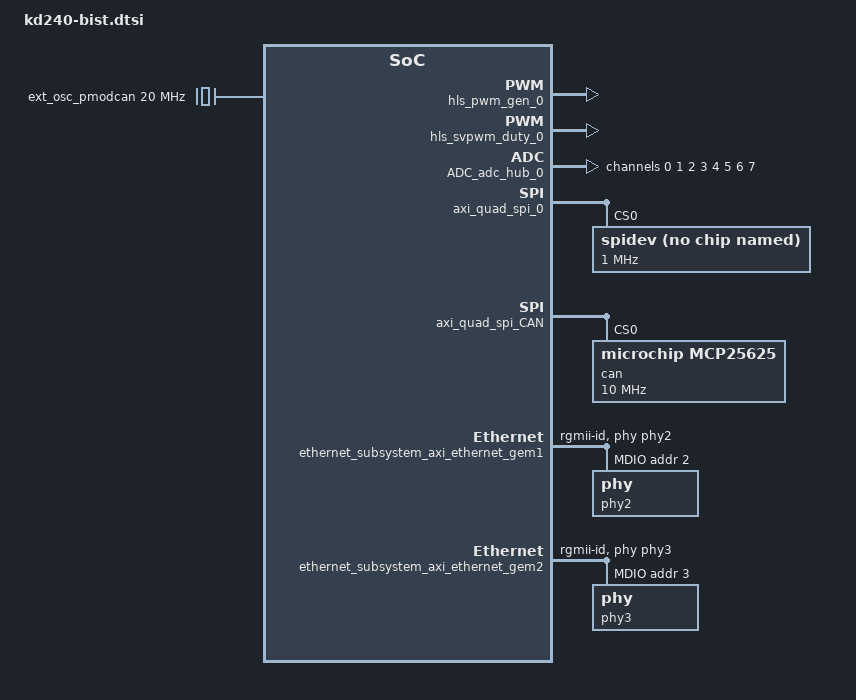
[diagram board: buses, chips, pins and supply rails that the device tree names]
// SPDX-License-Identifier: Apache-2.0
/*
 * dts file for Xilinx KD240 motor drives
 *
 * (C) Copyright 2023 - 2024, Advanced Micro Devices, Inc.
 *
 */

/dts-v1/;
/plugin/;

&fpga_full {
	#address-cells = <2>;
	#size-cells = <2>;
	firmware-name = "kd240-bist.bit.bin";
	resets = <&zynqmp_reset 116>, <&zynqmp_reset 117>;
};

&amba {
	afi0: afi0 {
		compatible = "xlnx,afi-fpga";
		config-afi = < 0 0>, <1 0>, <2 0>, <3 0>, <4 0>, <5 0>, <6 0>, <7 0>, <8 0>, <9 0>, <10 0>, <11 0>, <12 0>, <13 0>, <14 0x800>, <15 0x000>;
	};

	/* fpga clocks */
	pl0_ref_100M: pl0_ref_100M { /* clk_out1 - clk_wiz_0 */
		#clock-cells = <0x0>;
		compatible = "fixed-factor-clock";
		clocks = <&zynqmp_clk 71>;
		clock-div = <1>;
		clock-mult = <1>;
	};

	gem1_clk_out_125M: gem1_clk_out_125M { /* clk_out1 - clk_wiz_1 */
		#clock-cells = <0x0>;
		compatible = "fixed-factor-clock";
		clocks = <&clk_25_0>; /* u92/u91 - 25MHz clock - modelled in board dts*/
		clock-div = <1>;
		clock-mult = <5>;
	};

	gem2_clk_out_125M: gem2_clk_out_125M { /* clk_out1 - clk_wiz */
		#clock-cells = <0x0>;
		compatible = "fixed-factor-clock";
		clocks = <&clk_25_1>; /* u92/u91 - 25MHz clock - modelled in board dts*/
		clock-div = <1>;
		clock-mult = <5>;
	};

	gem2_clk_out_333M: gem2_clk_out_333M { /* clk_out2 - clk_wiz */
		#clock-cells = <0x0>;
		compatible = "fixed-factor-clock";
		clocks = <&clk_25_1>; /* u92/u91 - 25MHz clock - modelled in board dts*/
		clock-div = <3>;
		clock-mult = <40>;
	};

	/* ext_osc_pmodcan: External oscillator (X1) residing on Digilent PmodCAN device.
	Supplies 20MHz fixed clock to MCP25625 CAN Controller on the device to enable
	communication. Refer PmodCAN schematic for details. */
	ext_osc_pmodcan: ext_osc_pmodcan {
		compatible = "fixed-clock";
		#clock-cells = <0>;
		clock-frequency = <20000000>;
		clock-output-names = "ext_osc_pmodcan";
	};

	hls_foc_periodic_0: hls_foc_periodic@a0000000 {
		clock-names = "ap_clk";
		clocks = <&pl0_ref_100M>;
		compatible = "xlnx,hls-foc-periodic-1.0";
		interrupt-names = "interrupt";
		interrupt-parent = <&gic>;
		interrupts = <0 108 4>;
		reg = <0 0xa0000000 0 0x10000>;
	};

	hls_pwm_gen_0: hls_pwm_gen@a0040000 {
		clock-names = "ap_clk";
		clocks = <&pl0_ref_100M>;
		compatible = "xlnx,hls-pwm-gen-1.0";
		reg = <0 0xa0040000 0 0x10000>;
	};

	hls_qei_axi_0: hls_qei_axi@a0030000 {
		clock-names = "ap_clk";
		clocks = <&pl0_ref_100M>;
		compatible = "xlnx,hls-qei-axi-1.0";
		interrupt-names = "interrupt";
		interrupt-parent = <&gic>;
		interrupts = <0 107 4>;
		reg = <0 0xa0030000 0 0x10000>;
	};

	hls_svpwm_duty_0: hls_svpwm_duty@a0050000 {
		clock-names = "ap_clk";
		clocks = <&pl0_ref_100M>;
		compatible = "xlnx,hls-svpwm-duty-1.0";
		interrupt-names = "interrupt";
		interrupt-parent = <&gic>;
		interrupts = <0 109 4>;
		reg = <0 0xa0050000 0 0x10000>;
	};

	motor_control_0: motor_control@a0020000 {
		clock-names = "s_axi_cntrl_clk";
		clocks = <&pl0_ref_100M>;
		compatible = "generic-uio";
		linux,uio-name = "motor_control";
		interrupt-names = "interrupt";
		interrupt-parent = <&gic>;
		interrupts = <0 105 4>;
		reg = <0 0xa0020000 0 0x1000>;
	};

	axi_gpio_0: gpio@a0070000 {
		#gpio-cells = <2>;
		compatible = "xlnx,axi-gpio-2.0","xlnx,xps-gpio-1.00.a";
		clocks = <&pl0_ref_100M>;
		gpio-controller ;
		reg = <0x0 0xa0070000 0x0 0x10000>;
		xlnx,all-inputs = <0x0>;
		xlnx,all-inputs-2 = <0x0>;
		xlnx,all-outputs = <0x0>;
		xlnx,all-outputs-2 = <0x0>;
		xlnx,dout-default = <0x00000000>;
		xlnx,dout-default-2 = <0x00000000>;
		xlnx,gpio-width = <0x8>;
		xlnx,gpio2-width = <0x3>;
		xlnx,interrupt-present = <0x0>;
		xlnx,is-dual = <0x1>;
		xlnx,tri-default = <0xFFFFFFFF>;
		xlnx,tri-default-2 = <0xFFFFFFFF>;
	};

	ADC_adc_hub_0: adc_hub@a0010000 {
		compatible = "xlnx,adc-hub-1.0";
		interrupt-names = "adc_hub-irq";
		interrupt-parent = <&gic>;
		interrupts = <0 104 4>;
		xlnx,numchannels = /bits/8 <8>;
		reg = <0 0xa0010000 0 0x1000>;
		#address-cells = <1>;
		#size-cells = <0>;
		channel@0 {
			reg = <0>;
			xlnx,type = "voltage";
			xlnx,bipolar;
		};
		channel@1 {
			reg = <1>;
			xlnx,type = "current";
			xlnx,bipolar;
		};
		channel@2 {
			reg = <2>;
			xlnx,type = "voltage";
			xlnx,bipolar;
		};
		channel@3 {
			reg = <3>;
			xlnx,type = "current";
			xlnx,bipolar;
		};
		channel@4 {
			reg = <4>;
			xlnx,type = "voltage";
			xlnx,bipolar;
		};
		channel@5 {
			reg = <5>;
			xlnx,type = "current";
			xlnx,bipolar;
		};
		channel@6 {
			reg = <6>;
			xlnx,type = "voltage";
		};
		channel@7 {
			reg = <7>;
			xlnx,type = "current";
		};
	};

	axi_quad_spi_0: axi_quad_spi@a0060000 {
		bits-per-word = <8>;
		clock-names = "ext_spi_clk", "s_axi_aclk";
		clocks = <&pl0_ref_100M>, <&pl0_ref_100M>;
		compatible = "xlnx,axi-quad-spi-3.2", "xlnx,xps-spi-2.00.a";
		fifo-size = <16>;
		interrupt-names = "ip2intc_irpt";
		interrupt-parent = <&gic>;
		interrupts = <0 106 1>;
		num-cs = <0x1>;
		reg = <0x0 0xa0060000 0x0 0x10000>;
		xlnx,num-ss-bits = <0x1>;
		xlnx,spi-mode = <0>;
		spidev@0 {
			compatible = "rohm,dh2228fv"; /*spidev alternative*/
			reg = <0>;
			spi-max-frequency = <1000000>;
		};
	};

	axi_quad_spi_CAN: axi_quad_spi@a0080000 {
		bits-per-word = <8>;
		clock-names = "ext_spi_clk", "s_axi_aclk";
		clocks = <&pl0_ref_100M>, <&pl0_ref_100M>;
		compatible = "xlnx,axi-quad-spi-3.2", "xlnx,xps-spi-2.00.a";
		fifo-size = <16>;
		interrupt-names = "ip2intc_irpt";
		interrupt-parent = <&gic>;
		interrupts = <0 111 1>;
		num-cs = <0x1>;
		reg = <0x0 0xa0080000 0x0 0x10000>;
		xlnx,num-ss-bits = <0x1>;
		xlnx,spi-mode = <0>;
		can@0 {
			compatible = "microchip,mcp25625";
			reg = <0>;
			clocks = <&ext_osc_pmodcan>;
			interrupt-names = "can_int";
			interrupt-parent = <&gic>; 
			interrupts = <0 110 4>;
			spi-max-frequency = <10000000>;
		};
	};

	ethernet_subsystem_axi_dma_gem1: dma@80010000 {
		#dma-cells = <1>;
		clock-names = "s_axi_lite_aclk", "m_axi_sg_aclk", "m_axi_mm2s_aclk", "m_axi_s2mm_aclk";
		clocks = <&pl0_ref_100M>, <&pl0_ref_100M>, <&pl0_ref_100M>, <&pl0_ref_100M>;
		compatible = "xlnx,eth-dma";
		interrupt-names = "mm2s_introut", "s2mm_introut";
		interrupt-parent = <&gic>;
		interrupts = <0 93 4 0 94 4>;
		reg = <0x0 0x80010000 0x0 0x10000>;
		xlnx,addrwidth = /bits/ 8 <0x20>;
		xlnx,num-queues = /bits/ 16 <0x1>;
	};
	ethernet_subsystem_axi_ethernet_gem1: ethernet@80080000 {
		axistream-connected = <&ethernet_subsystem_axi_dma_gem1>;
		axistream-control-connected = <&ethernet_subsystem_axi_dma_gem1>;
		clock-frequency = <100000000>;
		clock-names = "s_axi_lite_clk", "axis_clk", "gtx_clk";
		clocks = <&pl0_ref_100M>, <&pl0_ref_100M>, <&gem1_clk_out_125M>;
		compatible = "xlnx,axi-ethernet-7.2", "xlnx,axi-ethernet-1.00.a";
		device_type = "network";
		interrupt-names = "mac_irq", "interrupt", "mm2s_introut", "s2mm_introut";
		interrupt-parent = <&gic>;
		interrupts = <0 95 1 0 96 4 0 93 4 0 94 4>;
		local-mac-address = [00 0a 35 00 00 00];
		phy-mode = "rgmii-id";
		reg = <0x0 0x80080000 0x0 0x40000>;
		xlnx = <0x0>;
		xlnx,axiliteclkrate = <0x0>;
		xlnx,axisclkrate = <0x0>;
		xlnx,channel-ids = <0x1>;
		xlnx,clockselection = <0x0>;
		xlnx,enableasyncsgmii = <0x0>;
		xlnx,gt-type = <0x0>;
		xlnx,gtinex = <0x0>;
		xlnx,gtlocation = <0x0>;
		xlnx,gtrefclksrc = <0x0>;
		xlnx,instantiatebitslice0 = <0x0>;
		xlnx,num-queues = /bits/ 16 <0x1>;
		xlnx,phyrst-board-interface-dummy-port = <0x0>;
		xlnx,rable = <0x0>;
		xlnx,rxcsum = <0x0>;
		xlnx,rxlane0-placement = <0x0>;
		xlnx,rxlane1-placement = <0x0>;
		xlnx,rxmem = <0x1000>;
		xlnx,rxnibblebitslice0used = <0x0>;
		xlnx,tx-in-upper-nibble = <0x1>;
		xlnx,txcsum = <0x0>;
		xlnx,txlane0-placement = <0x0>;
		xlnx,txlane1-placement = <0x0>;
		xlnx,versal-gt-board-flow = <0x0>;
		zclock-names = "NULL";
		zclocks = "NULL";
		phy-handle = <&phy2>;
		ethernet_subsystem_axi_ethernet_gem1_mdio: mdio {
			#address-cells = <1>;
			#size-cells = <0>;
			phy2: phy@2 {
				reg = <0x2>;
				adi,rx-internal-delay-ps = <2000>;
				adi,tx-internal-delay-ps = <2000>;
				adi,fifo-depth-bits = <8>;
			};
		};
	};

	ethernet_subsystem_axi_dma_gem2: dma@80000000 {
		#dma-cells = <1>;
		clock-names = "s_axi_lite_aclk", "m_axi_sg_aclk", "m_axi_mm2s_aclk", "m_axi_s2mm_aclk";
		clocks = <&pl0_ref_100M>, <&pl0_ref_100M>, <&pl0_ref_100M>, <&pl0_ref_100M>;
		compatible = "xlnx,eth-dma";
		interrupt-names = "mm2s_introut", "s2mm_introut";
		interrupt-parent = <&gic>;
		interrupts = <0 91 4 0 92 4>;
		reg = <0x0 0x80000000 0x0 0x10000>;
		xlnx,addrwidth = /bits/ 8 <0x20>;
		xlnx,num-queues = /bits/ 16 <0x1>;
	};

	ethernet_subsystem_axi_ethernet_gem2: ethernet@80040000 {
		axistream-connected = <&ethernet_subsystem_axi_dma_gem2>;
		axistream-control-connected = <&ethernet_subsystem_axi_dma_gem2>;
		clock-frequency = <100000000>;
		clock-names = "s_axi_lite_clk", "axis_clk", "gtx_clk", "ref_clk";
		clocks = <&pl0_ref_100M>, <&pl0_ref_100M>, <&gem2_clk_out_125M>, <&gem2_clk_out_333M>;
		compatible = "xlnx,axi-ethernet-7.2", "xlnx,axi-ethernet-1.00.a";
		device_type = "network";
		interrupt-names = "mac_irq", "interrupt", "mm2s_introut", "s2mm_introut";
		interrupt-parent = <&gic>;
		interrupts = <0 89 1 0 90 4 0 91 4 0 92 4>;
		local-mac-address = [00 0a 35 00 00 01];
		phy-mode = "rgmii-id";
		reg = <0x0 0x80040000 0x0 0x40000>;
		xlnx = <0x0>;
		xlnx,axiliteclkrate = <0x0>;
		xlnx,axisclkrate = <0x0>;
		xlnx,channel-ids = <0x1>;
		xlnx,clockselection = <0x0>;
		xlnx,enableasyncsgmii = <0x0>;
		xlnx,gt-type = <0x0>;
		xlnx,gtinex = <0x0>;
		xlnx,gtlocation = <0x0>;
		xlnx,gtrefclksrc = <0x0>;
		xlnx,instantiatebitslice0 = <0x0>;
		xlnx,num-queues = /bits/ 16 <0x1>;
		xlnx,phyrst-board-interface-dummy-port = <0x0>;
		xlnx,rable = <0x0>;
		xlnx,rxcsum = <0x0>;
		xlnx,rxlane0-placement = <0x0>;
		xlnx,rxlane1-placement = <0x0>;
		xlnx,rxmem = <0x1000>;
		xlnx,rxnibblebitslice0used = <0x0>;
		xlnx,tx-in-upper-nibble = <0x1>;
		xlnx,txcsum = <0x0>;
		xlnx,txlane0-placement = <0x0>;
		xlnx,txlane1-placement = <0x0>;
		xlnx,versal-gt-board-flow = <0x0>;
		zclock-names = "NULL";
		zclocks = "NULL";
		phy-handle = <&phy3>;
		ethernet_subsystem_axi_ethernet_gem2_mdio: mdio {
			#address-cells = <1>;
			#size-cells = <0>;
			phy3: phy@3 {
				reg = <0x3>;
				adi,rx-internal-delay-ps = <2000>;
				adi,tx-internal-delay-ps = <2000>;
				adi,fifo-depth-bits = <8>;
			};
		};
	};
};
